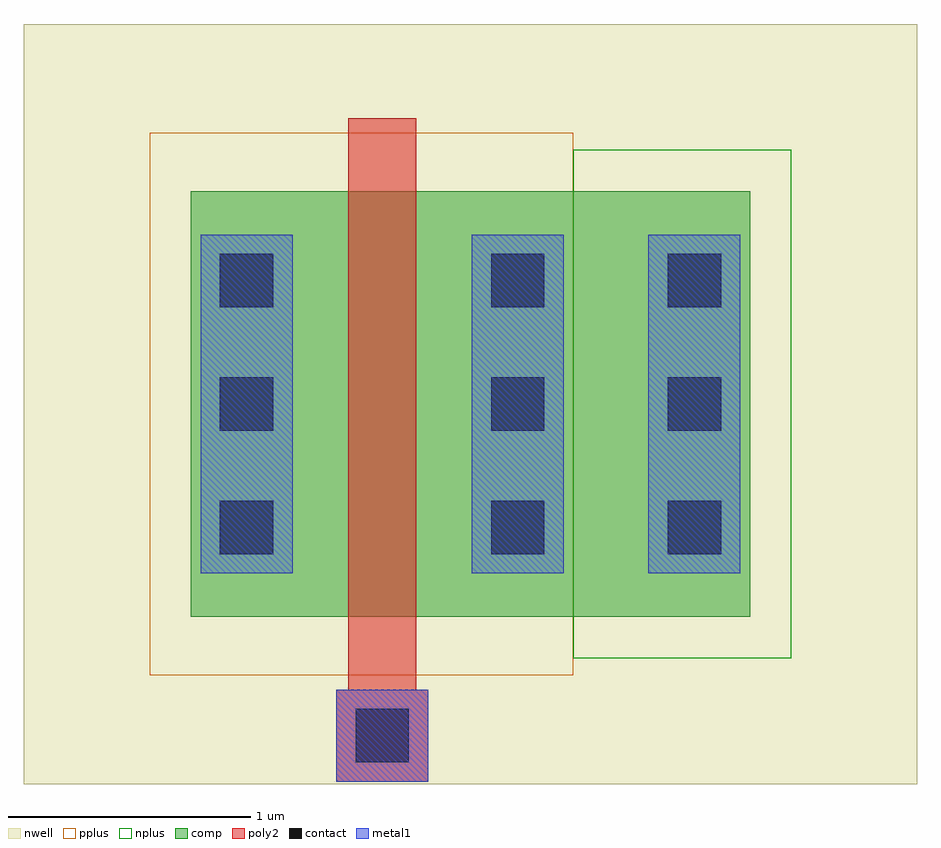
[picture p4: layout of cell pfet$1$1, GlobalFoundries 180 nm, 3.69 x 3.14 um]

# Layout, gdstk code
import gdstk
lib = gdstk.Library(unit=1e-6, precision=5e-09)
def R(c, l, rs):  # rectangles x0, y0, x1, y1
    for r in rs: c.add(gdstk.rectangle(r[:2], r[2:], *l))
def A(c, l, x, y, w, h, nx, ny, dx, dy):  # array of equal rectangles
    R(c, l, [(x+i*dx, y+j*dy, x+i*dx+w, y+j*dy+h) for i in range(nx) for j in range(ny)])
nwell = (21, 0)
comp = (22, 0)
poly2 = (30, 0)
pplus = (31, 0)
nplus = (32, 0)
contact = (33, 0)
metal1 = (34, 0)

pfet_1_1 = lib.new_cell('pfet$1$1')
R(pfet_1_1, nwell, [(-1.15,-0.69,2.54,2.45)])
R(pfet_1_1, comp, [(-0.46,0,0,1.76), (0,0,0.66,1.76), (0.66,0,1.12,1.76), (1.12,0,1.85,1.76)])
R(pfet_1_1, poly2, [(0.14,-0.68,0.52,-0.3), (0.19,-0.3,0.47,2.06)])
R(pfet_1_1, pplus, [(-0.63,-0.24,1.12,2)])
R(pfet_1_1, nplus, [(1.12,-0.17,2.02,1.93)])
A(pfet_1_1, contact, -0.34, 0.26, 0.22, 0.22, 1, 3, 0, 0.51)
A(pfet_1_1, contact, 0.78, 0.26, 0.22, 0.22, 1, 3, 0, 0.51)
A(pfet_1_1, contact, 1.51, 0.26, 0.22, 0.22, 1, 3, 0, 0.51)
R(pfet_1_1, contact, [(0.22,-0.6,0.44,-0.38)])
R(pfet_1_1, metal1, [(0.14,-0.68,0.52,-0.3), (-0.42,0.18,-0.04,1.58), (0.7,0.18,1.08,1.58), (1.43,0.18,1.81,1.58)])

lib.write_gds('pfet_1_1.gds')
